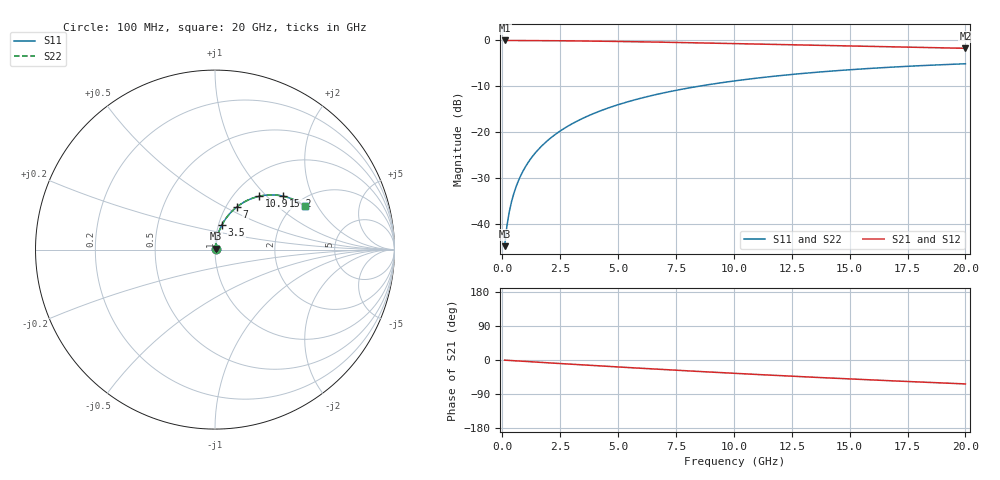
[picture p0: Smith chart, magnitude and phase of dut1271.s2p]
! Touchstone file exported from HFSS 2026.1.0
!  File:  C:/ffzhzh/LocalFiles/Ansys_Project_Files/temp_train_TMRDL_1271_1783164170_43440.aedt
!  Generated:  07:24:31 PM Jul  4, 2026
!  Design:  TMRDL
!  Project:  temp_train_TMRDL_1271_1783164170_43440
! Variables:
!  h_bsmrdl = 2um
!  h_ox = 20um
!  h_rdl = 5um
!  h_sub = 80um
!  h_tmrdl = 4.41um
!  h_tsv = 80um
!  h_via = 3um
!  l_bsmrdl = 300um
!  l_sub = 1377.81um
!  l_tmrdl = 977.81um
!  m_sub = 200um
!  pitch = 59.58um
!  r_tsv = 6um
!  s_tmrdl = 10um
!  w_bsmrdl = 18um
!  w_sub = 500um
!  w_tmrdl = 22.26um
!  x_tsv_center1 = 988.94um
!  x_tsv_center2 = 1306.94um
!  x_tsv_center3 = 2307.01um
!  x_tsv_center4 = 2625.01um
!  x_tsv_center5 = 3625.08um
!  x_tsv_center6 = 3943.08um
# GHz S MA R 50.000000
! Terminal data exported
! Port[1] = TM_RDL1_1_T1
! Port[2] = TM_RDL1_1_T2
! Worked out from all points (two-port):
!   200 points, 100 MHz to 20 GHz, reference 50 ohm
!   highest |S21| = -0.03 dB at 100 MHz (marker M1); lowest = -1.7 dB at 20 GHz (marker M2)
!   |S21| within 3 dB of the highest: start of sweep to end of sweep
!   lowest |S11| = -44.7 dB at 100 MHz (marker M3), VSWR 1.01, Z = 50.4 + j0.447 ohm
!   |S11| at or under -10 dB: start of sweep to 8.465 GHz
!   |S22| runs from -44.7 to -5.1 dB; largest |S21 - S12| = 1.4e-14
!   S11 on the Smith chart (normalised r, x): 100 MHz: 1.01, +0.01; 3.5 GHz: 1.04, +0.29; 7 GHz: 1.12, +0.58; 10.9 GHz: 1.30, +0.90; 15.2 GHz: 1.62, +1.26; 20 GHz: 2.25, +1.57
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0.1  0.005789 50.1  0.9963 -0.4  0.9963 -0.4  0.005789 50.1
! Gamma 0 0 0 0
! Port Impedance 50 0 50 0
0.2  0.009613 65.4  0.9961 -0.8  0.9961 -0.8  0.009613 65.4
0.3  0.01363 71.4  0.9958 -1.2  0.9958 -1.2  0.01363 71.5
0.4  0.01767 74.7  0.9956 -1.5  0.9956 -1.5  0.01767 74.7
0.5  0.02173 76.6  0.9955 -1.9  0.9955 -1.9  0.02173 76.6
0.7  0.0299 78.8  0.9951 -2.7  0.9951 -2.7  0.0299 78.8
1  0.04223 79.9  0.9945 -3.8  0.9945 -3.8  0.04223 79.9
1.4  0.05868 80.0  0.9934 -5.3  0.9934 -5.3  0.05868 80.0
2  0.0832 78.8  0.9912 -7.5  0.9912 -7.5  0.0832 78.8
2.7  0.1114 76.9  0.9879 -10.1  0.9879 -10.1  0.1114 76.9
3.5  0.1429 74.3  0.9831 -13.0  0.9831 -13.0  0.1429 74.3
4.2  0.1697 72.0  0.9781 -15.5  0.9781 -15.5  0.1697 72.0
5  0.1995 69.3  0.9718 -18.4  0.9718 -18.4  0.1995 69.3
6.8  0.2627 63.3  0.9553 -24.6  0.9553 -24.6  0.2627 63.3
7  0.2694 62.6  0.9533 -25.3  0.9533 -25.3  0.2694 62.7
8.5  0.3173 57.8  0.9377 -30.3  0.9377 -30.3  0.3173 57.8
10.1  0.364 52.8  0.9201 -35.4  0.9201 -35.4  0.364 52.9
10.9  0.3856 50.4  0.9111 -37.9  0.9111 -37.9  0.3856 50.4
13.4  0.4458 43.1  0.8831 -45.4  0.8831 -45.4  0.4458 43.1
15.2  0.4825 38.1  0.8637 -50.5  0.8637 -50.5  0.4825 38.1
16.7  0.5091 34.0  0.8485 -54.6  0.8485 -54.6  0.5091 34.1
20  0.5557 25.7  0.8192 -63.1  0.8192 -63.1  0.5558 25.7
